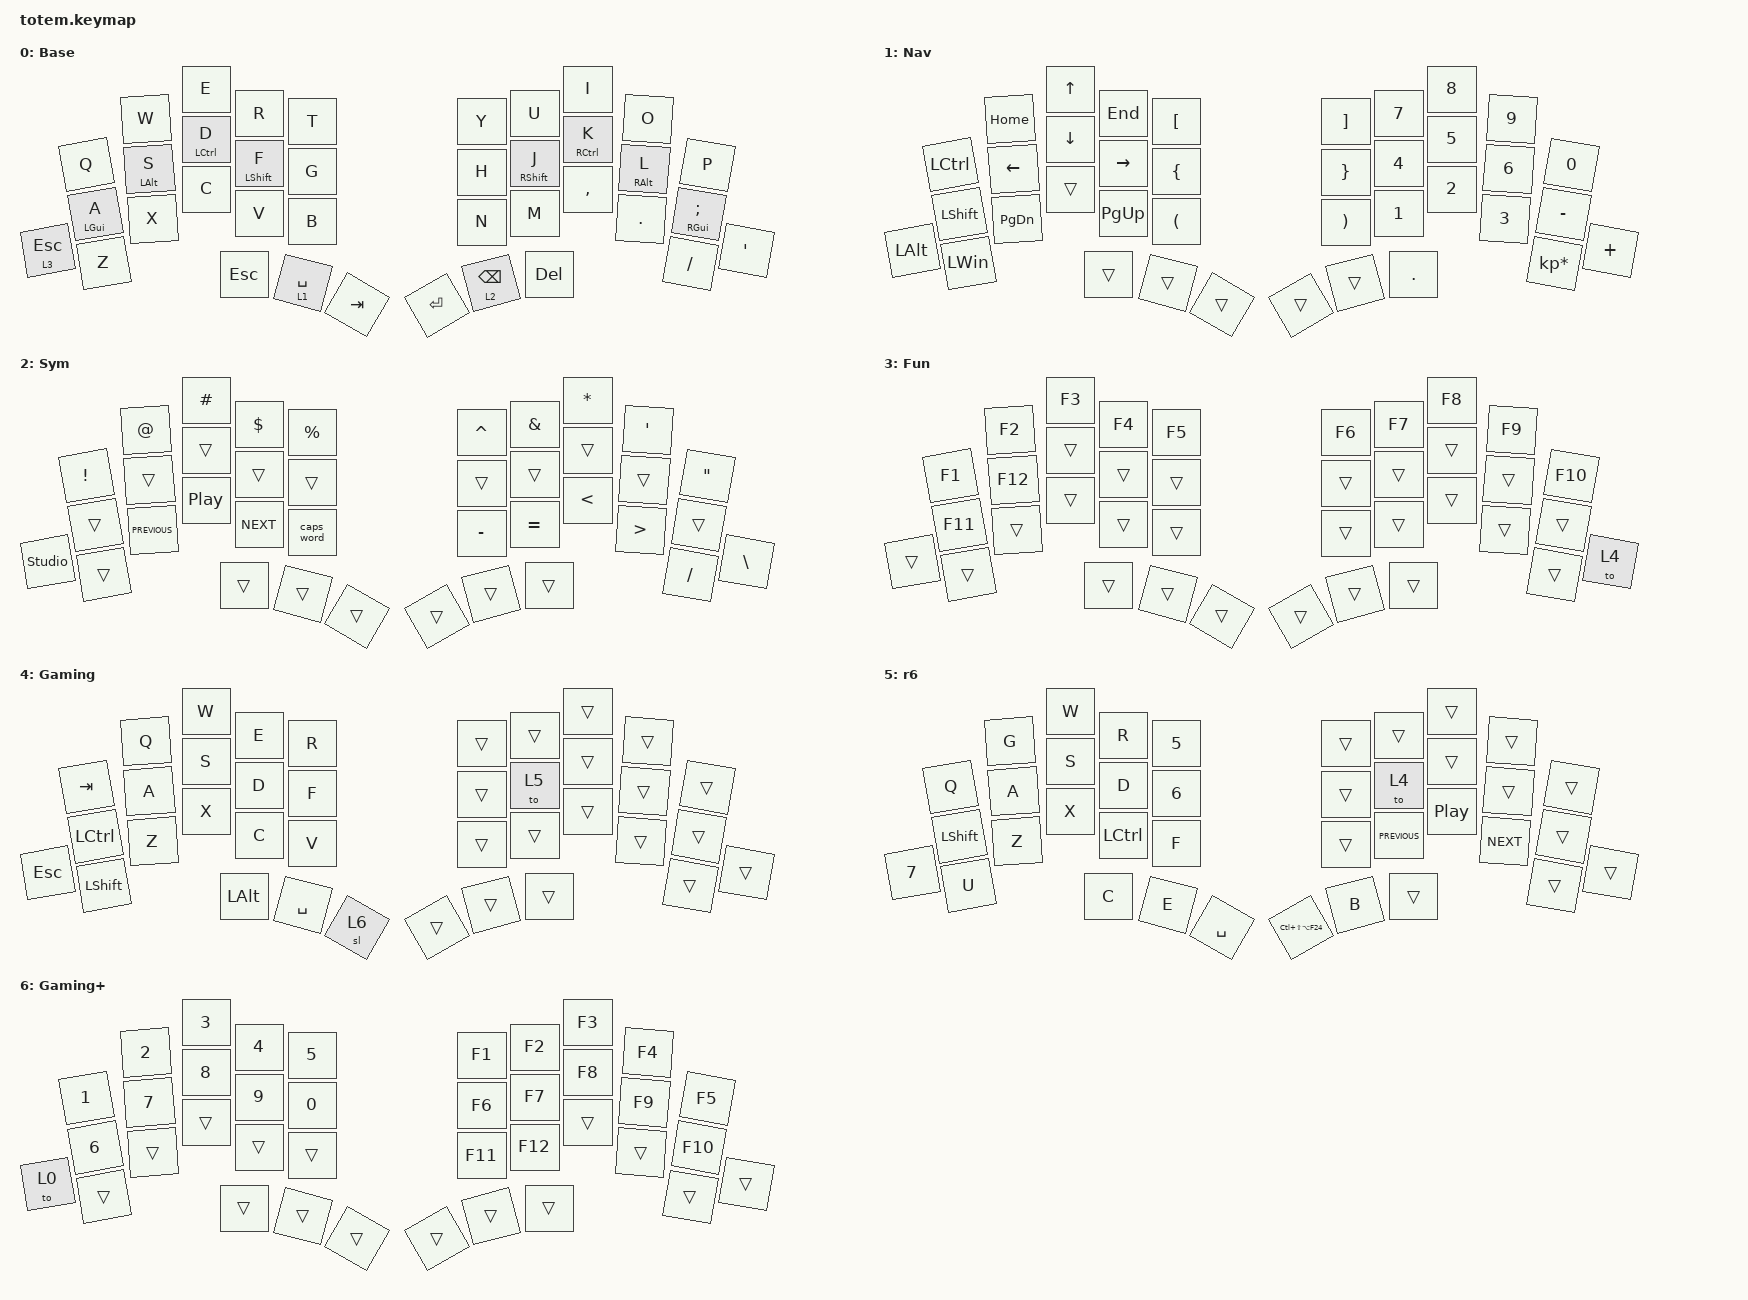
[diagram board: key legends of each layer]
//
//                                                        ▀▀▀▀▀     ▀▀▀▀▀          ▀▀█▀▀
//                                                        ▄▀▀▀▄  ▄  ▄▀▀▀▄  ▄  ▄▀▀▀▄  █  ▄▀▀▀▄
//                                                        █   █  █  █   █  █  █   █  █  █   █
//                                                         ▀▀▀   █   ▀▀▀   █   ▀▀▀   ▀   ▀▀▀
//                                                               █      ▄▄▄█▄▄▄    █   █  
//                                                               ▀      █  █  █     █▄█
//                                                             ▀▀▀▀▀    █  █  █      ▀
//                                                                      ▀  ▀  ▀
//
// ▄▄▄▄▄▄▄▄▄▄▄▄▄▄▄▄▄▄▄▄▄▄▄▄▄▄▄▄▄▄▄▄▄▄▄▄▄▄▄▄▄▄▄▄▄▄▄▄▄▄▄▄▄▄▄▄▄▄▄▄▄▄▄▄▄▄▄▄▄▄▄▄▄▄▄▄▄▄▄▄▄▄▄▄▄▄▄▄▄▄▄▄▄▄▄▄▄▄▄▄▄▄▄▄▄▄▄▄▄▄▄▄▄▄▄▄▄▄▄▄▄▄▄▄▄▄▄▄▄▄▄▄▄▄▄▄▄▄▄▄▄▄▄▄▄▄▄▄▄

#include <behaviors.dtsi>
#include <dt-bindings/zmk/keys.h>

#define Base        0
#define Nav         1
#define Sym         2
#define Fun         3
#define Game        4
#define Gameplus    5

&mt {
    quick-tap-ms = <100>;
    global-quick-tap;
    flavor = "tap-preferred";
    tapping-term-ms = <170>;
};

&lt {
    tapping-term-ms = <240>;
    flavor = "balanced";
    quick-tap-ms = <150>;
};

/ {
    behaviors {
        hm: homerow_mods {
            compatible = "zmk,behavior-hold-tap";
            label = "HOMEROW_MODS";
            #binding-cells = <2>;
            flavor = "tap-preferred";
            tapping-term-ms = <200>;
            bindings = <&kp>, <&kp>;
        };
    };

    combos { compatible = "zmk,combos"; };

    keymap {
        compatible = "zmk,keymap";

        Base {
            display-name = "Base";
            bindings = <
              &kp Q       &kp W       &kp E        &kp R         &kp T      &kp Y    &kp U        &kp I        &kp O       &kp P
              &hm LGUI A  &hm LALT S  &hm LCTRL D  &hm LSHIFT F  &kp G      &kp H    &hm RSHFT J  &hm RCTRL K  &hm RALT L  &hm RGUI SEMICOLON
&lt 3 ESCAPE  &kp Z       &kp X       &kp C        &kp V         &kp B      &kp N    &kp M        &kp COMMA    &kp DOT     &kp SLASH           &kp APOSTROPHE
                                      &kp ESCAPE   &lt 1 SPACE   &kp TAB    &kp RET  &lt 2 BSPC   &kp DEL
            >;
        };

        Nav {
            display-name = "Nav";
            bindings = <
              &kp LCTRL       &kp HOME       &kp UP_ARROW  &kp END      &kp LEFT_BRACKET    &kp RIGHT_BRACKET  &kp NUMBER_7  &kp NUMBER_8  &kp NUMBER_9  &kp NUMBER_0
              &kp LEFT_SHIFT  &kp LEFT       &kp DOWN      &kp RIGHT    &kp LEFT_BRACE      &kp RIGHT_BRACE    &kp NUMBER_4  &kp NUMBER_5  &kp NUMBER_6  &kp MINUS
&kp LEFT_ALT  &kp LEFT_WIN    &kp PAGE_DOWN  &trans        &kp PAGE_UP  &kp LPAR            &kp RPAR           &kp NUMBER_1  &kp NUMBER_2  &kp NUMBER_3  &kp KP_MULTIPLY  &kp PLUS
                                             &trans        &trans       &trans              &trans             &trans        &kp DOT
            >;
        };

        Sym {
            display-name = "Sym";
            bindings = <
                &kp EXCL  &kp AT          &kp HASH          &kp DOLLAR  &kp PERCENT    &kp CARET  &kp AMPERSAND  &kp ASTERISK   &kp SQT           &kp DQT
                &trans    &trans          &trans            &trans      &trans         &trans     &trans         &trans         &trans            &trans
&studio_unlock  &trans    &kp C_PREVIOUS  &kp C_PLAY_PAUSE  &kp C_NEXT  &caps_word     &kp MINUS  &kp EQUAL      &kp LESS_THAN  &kp GREATER_THAN  &kp SLASH  &kp BACKSLASH
                                          &trans            &trans      &trans         &trans     &trans         &trans
            >;
        };

        Fun {
            display-name = "Fun";
            bindings = <
        &kp F1   &kp F2   &kp F3  &kp F4  &kp F5    &kp F6  &kp F7  &kp F8  &kp F9  &kp F10
        &kp F11  &kp F12  &trans  &trans  &trans    &trans  &trans  &trans  &trans  &trans
&trans  &trans   &trans   &trans  &trans  &trans    &trans  &trans  &trans  &trans  &trans   &to 4
                          &trans  &trans  &trans    &trans  &trans  &trans
            >;
        };

        Gaming {
            display-name = "Gaming";
            bindings = <
            &kp TAB         &kp Q  &kp W         &kp E      &kp R    &trans  &trans  &trans  &trans  &trans
            &kp LCTRL       &kp A  &kp S         &kp D      &kp F    &trans  &to 5   &trans  &trans  &trans
&kp ESCAPE  &kp LEFT_SHIFT  &kp Z  &kp X         &kp C      &kp V    &trans  &trans  &trans  &trans  &trans  &trans
                                   &kp LEFT_ALT  &kp SPACE  &sl 6    &trans  &trans  &trans
            >;
        };

        r6 {
            bindings = <
        &kp Q      &kp G  &kp W  &kp R      &kp N5       &trans               &trans          &trans            &trans      &trans
        &kp LSHFT  &kp A  &kp S  &kp D      &kp N6       &trans               &to 4           &trans            &trans      &trans
&kp N7  &kp U      &kp Z  &kp X  &kp LCTRL  &kp F        &trans               &kp C_PREVIOUS  &kp C_PLAY_PAUSE  &kp C_NEXT  &trans  &trans
                          &kp C  &kp E      &kp SPACE    &kp LC(LS(LA(F24)))  &kp B           &trans
            >;
        };

        Gaming+ {
            display-name = "Gaming+";
            bindings = <
       &kp NUMBER_1  &kp NUMBER_2  &kp NUMBER_3  &kp NUMBER_4  &kp NUMBER_5    &kp F1   &kp F2   &kp F3  &kp F4  &kp F5
       &kp NUMBER_6  &kp N7        &kp NUMBER_8  &kp NUMBER_9  &kp NUMBER_0    &kp F6   &kp F7   &kp F8  &kp F9  &kp F10
&to 0  &trans        &trans        &trans        &trans        &trans          &kp F11  &kp F12  &trans  &trans  &trans   &trans
                                   &trans        &trans        &trans          &trans   &trans   &trans
            >;
        };
    };
};
